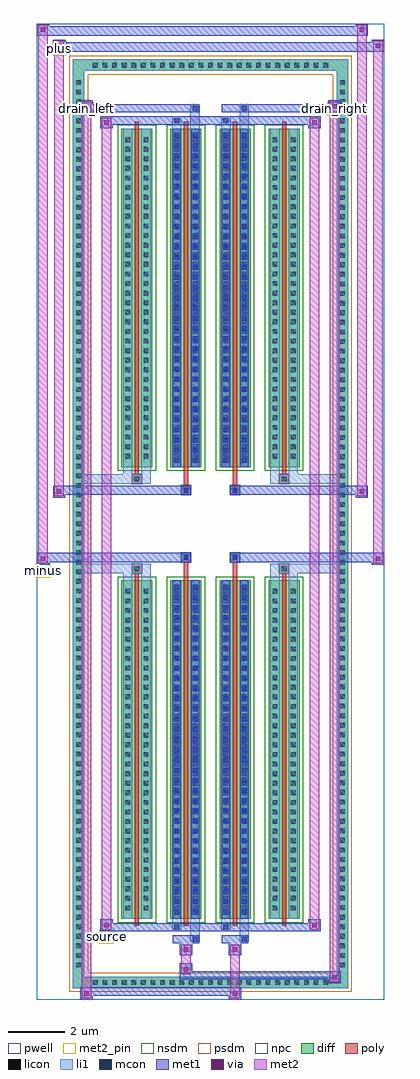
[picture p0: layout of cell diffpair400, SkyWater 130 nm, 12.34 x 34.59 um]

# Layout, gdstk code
import gdstk
lib = gdstk.Library(unit=1e-6, precision=5e-09)
def R(c, l, rs):  # rectangles x0, y0, x1, y1
    for r in rs: c.add(gdstk.rectangle(r[:2], r[2:], *l))
def A(c, l, x, y, w, h, nx, ny, dx, dy):  # array of equal rectangles
    R(c, l, [(x+i*dx, y+j*dy, x+i*dx+w, y+j*dy+h) for i in range(nx) for j in range(ny)])
def P(c, l, *ps):  # polygons
    for p in ps: c.add(gdstk.Polygon(p, *l))
pwell = (64, 44)
diff = (65, 20)
poly = (66, 20)
licon = (66, 44)
li1 = (67, 20)
mcon = (67, 44)
met1 = (68, 20)
via = (68, 44)
met2_pin = (69, 16)
met2 = (69, 20)
nsdm = (93, 44)
psdm = (94, 20)
npc = (95, 20)

diffpair400 = lib.new_cell('diffpair400')
R(diffpair400, pwell, [(-6.15,-16.86,6.15,17.73), (-3.47,-15.05,-0.01,-0.825), (0.01,-15.05,3.47,-0.825), (-3.47,0.825,-0.01,15.05), (0.01,0.825,3.47,15.05)])
A(diffpair400, diff, -4.285, -16.46, 0.41, 0.41, 25, 2, 0.34, 32.51)
A(diffpair400, diff, -4.88, -15.845, 0.41, 0.41, 1, 93, 0, 0.34)
A(diffpair400, diff, 4.47, -15.845, 0.41, 0.41, 1, 93, 0, 0.34)
A(diffpair400, diff, -3.16, -14.005, 1.1, 12, 4, 2, 1.74, 16.01)
R(diffpair400, diff, [(-4.285,-16.46,4.285,-16.05), (-4.88,-15.845,-4.47,15.845), (4.47,-15.845,4.88,15.845), (-4.285,16.05,4.285,16.46)])
P(diffpair400, diff, [(4.88,16.46),(-4.88,16.46),(-4.88,-16.05),(-4.47,-16.05),(-4.47,16.05),(4.47,16.05),(4.47,-16.05),(-4.47,-16.05),(-4.88,-16.05),(-4.88,-16.46),(4.88,-16.46)])
A(diffpair400, poly, -2.685, -14.255, 0.15, 12.5, 4, 2, 1.74, 16.01)
R(diffpair400, poly, [(-2.775,-1.755,-2.445,-1.425), (-2.775,-1.755,-2.445,-1.425), (-0.945,-1.755,-0.795,-1.355), (0.795,-1.755,0.945,-1.355), (2.445,-1.755,2.775,-1.425), (2.445,-1.755,2.775,-1.425), (-1.035,-1.355,-0.705,-1.025), (-1.035,-1.355,-0.705,-1.025), (0.705,-1.355,1.035,-1.025), (0.705,-1.355,1.035,-1.025), (-1.035,1.025,-0.705,1.355), (-1.035,1.025,-0.705,1.355), (0.705,1.025,1.035,1.355), (0.705,1.025,1.035,1.355), (-0.945,1.355,-0.795,1.755), (0.795,1.355,0.945,1.755), (-2.775,1.425,-2.445,1.755), (-2.775,1.425,-2.445,1.755), (2.445,1.425,2.775,1.755), (2.445,1.425,2.775,1.755)])
A(diffpair400, licon, -4.165, -16.34, 0.17, 0.17, 25, 2, 0.34, 32.51)
A(diffpair400, licon, -4.76, -15.725, 0.17, 0.17, 1, 93, 0, 0.34)
A(diffpair400, licon, 4.59, -15.725, 0.17, 0.17, 1, 93, 0, 0.34)
A(diffpair400, licon, -3.02, -13.7, 0.17, 0.17, 1, 34, 0, 0.34)
A(diffpair400, licon, -2.37, -13.7, 0.17, 0.17, 1, 34, 0, 0.34)
A(diffpair400, licon, -1.28, -13.7, 0.17, 0.17, 1, 34, 0, 0.34)
A(diffpair400, licon, -0.63, -13.7, 0.17, 0.17, 1, 34, 0, 0.34)
A(diffpair400, licon, 0.46, -13.7, 0.17, 0.17, 1, 34, 0, 0.34)
A(diffpair400, licon, 1.11, -13.7, 0.17, 0.17, 1, 34, 0, 0.34)
A(diffpair400, licon, 2.2, -13.7, 0.17, 0.17, 1, 34, 0, 0.34)
A(diffpair400, licon, 2.85, -13.7, 0.17, 0.17, 1, 34, 0, 0.34)
A(diffpair400, licon, -3.02, 2.31, 0.17, 0.17, 1, 34, 0, 0.34)
A(diffpair400, licon, -2.37, 2.31, 0.17, 0.17, 1, 34, 0, 0.34)
A(diffpair400, licon, -1.28, 2.31, 0.17, 0.17, 1, 34, 0, 0.34)
A(diffpair400, licon, -0.63, 2.31, 0.17, 0.17, 1, 34, 0, 0.34)
A(diffpair400, licon, 0.46, 2.31, 0.17, 0.17, 1, 34, 0, 0.34)
A(diffpair400, licon, 1.11, 2.31, 0.17, 0.17, 1, 34, 0, 0.34)
A(diffpair400, licon, 2.2, 2.31, 0.17, 0.17, 1, 34, 0, 0.34)
A(diffpair400, licon, 2.85, 2.31, 0.17, 0.17, 1, 34, 0, 0.34)
R(diffpair400, licon, [(-2.695,-1.675,-2.525,-1.505), (2.525,-1.675,2.695,-1.505), (-0.955,-1.275,-0.785,-1.105), (0.785,-1.275,0.955,-1.105), (-0.955,1.105,-0.785,1.275), (0.785,1.105,0.955,1.275), (-2.695,1.505,-2.525,1.675), (2.525,1.505,2.695,1.675)])
A(diffpair400, li1, -4.245, -16.42, 0.33, 0.33, 25, 2, 0.34, 32.51)
A(diffpair400, li1, -4.84, -15.805, 0.33, 0.33, 1, 93, 0, 0.34)
A(diffpair400, li1, 4.51, -15.805, 0.33, 0.33, 1, 93, 0, 0.34)
A(diffpair400, li1, -1.28, -13.85, 0.17, 0.17, 1, 33, 0, 0.36)
A(diffpair400, li1, -0.63, -13.85, 0.17, 0.17, 1, 33, 0, 0.36)
A(diffpair400, li1, 0.46, -13.85, 0.17, 0.17, 1, 33, 0, 0.36)
A(diffpair400, li1, 1.11, -13.85, 0.17, 0.17, 1, 33, 0, 0.36)
A(diffpair400, li1, -3.1, -13.78, 0.33, 0.33, 1, 34, 0, 0.34)
A(diffpair400, li1, -2.45, -13.78, 0.33, 0.33, 1, 34, 0, 0.34)
A(diffpair400, li1, -1.36, -13.78, 0.33, 0.33, 1, 34, 0, 0.34)
A(diffpair400, li1, -0.71, -13.78, 0.33, 0.33, 1, 34, 0, 0.34)
A(diffpair400, li1, 0.38, -13.78, 0.33, 0.33, 1, 34, 0, 0.34)
A(diffpair400, li1, 1.03, -13.78, 0.33, 0.33, 1, 34, 0, 0.34)
A(diffpair400, li1, 2.12, -13.78, 0.33, 0.33, 1, 34, 0, 0.34)
A(diffpair400, li1, 2.77, -13.78, 0.33, 0.33, 1, 34, 0, 0.34)
A(diffpair400, li1, -1.28, 2.16, 0.17, 0.17, 1, 33, 0, 0.36)
A(diffpair400, li1, -0.63, 2.16, 0.17, 0.17, 1, 33, 0, 0.36)
A(diffpair400, li1, 0.46, 2.16, 0.17, 0.17, 1, 33, 0, 0.36)
A(diffpair400, li1, 1.11, 2.16, 0.17, 0.17, 1, 33, 0, 0.36)
A(diffpair400, li1, -3.1, 2.23, 0.33, 0.33, 1, 34, 0, 0.34)
A(diffpair400, li1, -2.45, 2.23, 0.33, 0.33, 1, 34, 0, 0.34)
A(diffpair400, li1, -1.36, 2.23, 0.33, 0.33, 1, 34, 0, 0.34)
A(diffpair400, li1, -0.71, 2.23, 0.33, 0.33, 1, 34, 0, 0.34)
A(diffpair400, li1, 0.38, 2.23, 0.33, 0.33, 1, 34, 0, 0.34)
A(diffpair400, li1, 1.03, 2.23, 0.33, 0.33, 1, 34, 0, 0.34)
A(diffpair400, li1, 2.12, 2.23, 0.33, 0.33, 1, 34, 0, 0.34)
A(diffpair400, li1, 2.77, 2.23, 0.33, 0.33, 1, 34, 0, 0.34)
R(diffpair400, li1, [(-4.88,-16.46,-4.47,-16.05), (-4.88,-16.46,-4.47,-16.05), (-4.47,-16.46,4.47,-16.05), (4.47,-16.46,4.88,-16.05), (4.47,-16.46,4.88,-16.05), (-4.88,-16.05,-4.47,16.05), (4.47,-16.05,4.88,16.05), (-0.71,-14.81,-0.38,-14.005), (-0.63,-14.81,-0.46,-14.64), (1.03,-14.81,1.36,-14.005), (1.11,-14.81,1.28,-14.64), (-1.36,-14.38,-1.03,-14.005), (-1.28,-14.38,-1.11,-14.21), (0.38,-14.38,0.71,-14.005), (0.46,-14.38,0.63,-14.21), (-3.1,-14.005,-2.77,-2.005), (-2.45,-14.005,-2.12,-2.005), (-1.36,-14.005,-1.03,-2.005), (-0.71,-14.005,-0.38,-2.005), (0.38,-14.005,0.71,-2.005), (1.03,-14.005,1.36,-2.005), (2.12,-14.005,2.45,-2.005), (2.77,-14.005,3.1,-2.005), (-1.28,-13.85,-1.11,-2.16), (-0.63,-13.85,-0.46,-2.16), (0.46,-13.85,0.63,-2.16), (1.11,-13.85,1.28,-2.16), (-3.1,-2.005,-2.77,-1.425), (-2.45,-2.005,-2.12,-1.425), (2.12,-2.005,2.45,-1.425), (2.77,-2.005,3.1,-1.425), (-4.88,-1.755,-2.775,-1.425), (-3.1,-1.755,-2.775,-1.425), (-2.775,-1.755,-2.445,-1.425), (-2.445,-1.755,-2.12,-1.425), (2.12,-1.755,2.445,-1.425), (2.445,-1.755,2.775,-1.425), (2.445,-1.755,4.88,-1.425), (2.775,-1.755,3.1,-1.425), (-1.035,-1.355,-0.705,-1.025), (0.705,-1.355,1.035,-1.025), (-1.035,1.025,-0.705,1.355), (0.705,1.025,1.035,1.355), (-4.88,1.425,-2.775,1.755), (-3.1,1.425,-2.775,1.755), (-3.1,1.425,-2.77,2.005), (-2.775,1.425,-2.445,1.755), (-2.45,1.425,-2.12,2.005), (-2.445,1.425,-2.12,1.755), (2.12,1.425,2.445,1.755), (2.12,1.425,2.45,2.005), (2.445,1.425,2.775,1.755), (2.445,1.425,4.88,1.755), (2.77,1.425,3.1,2.005), (2.775,1.425,3.1,1.755), (-3.1,2.005,-2.77,14.005), (-2.45,2.005,-2.12,14.005), (-1.36,2.005,-1.03,14.005), (-0.71,2.005,-0.38,14.005), (0.38,2.005,0.71,14.005), (1.03,2.005,1.36,14.005), (2.12,2.005,2.45,14.005), (2.77,2.005,3.1,14.005), (-1.28,2.16,-1.11,13.85), (-0.63,2.16,-0.46,13.85), (0.46,2.16,0.63,13.85), (1.11,2.16,1.28,13.85), (-1.36,14.005,-1.03,14.38), (-0.71,14.005,-0.38,14.81), (0.38,14.005,0.71,14.38), (1.03,14.005,1.36,14.81), (-1.28,14.21,-1.11,14.38), (0.46,14.21,0.63,14.38), (-0.63,14.64,-0.46,14.81), (1.11,14.64,1.28,14.81), (-4.88,16.05,-4.47,16.46), (-4.88,16.05,-4.47,16.46), (-4.47,16.05,4.47,16.46), (4.47,16.05,4.88,16.46), (4.47,16.05,4.88,16.46)])
A(diffpair400, mcon, -1.28, -13.85, 0.17, 0.17, 1, 33, 0, 0.36)
A(diffpair400, mcon, -0.63, -13.85, 0.17, 0.17, 1, 33, 0, 0.36)
A(diffpair400, mcon, 0.46, -13.85, 0.17, 0.17, 1, 33, 0, 0.36)
A(diffpair400, mcon, 1.11, -13.85, 0.17, 0.17, 1, 33, 0, 0.36)
A(diffpair400, mcon, -1.28, 2.16, 0.17, 0.17, 1, 33, 0, 0.36)
A(diffpair400, mcon, -0.63, 2.16, 0.17, 0.17, 1, 33, 0, 0.36)
A(diffpair400, mcon, 0.46, 2.16, 0.17, 0.17, 1, 33, 0, 0.36)
A(diffpair400, mcon, 1.11, 2.16, 0.17, 0.17, 1, 33, 0, 0.36)
R(diffpair400, mcon, [(-0.63,-14.81,-0.46,-14.64), (1.11,-14.81,1.28,-14.64), (-1.28,-14.38,-1.11,-14.21), (0.46,-14.38,0.63,-14.21), (-0.955,-1.275,-0.785,-1.105), (0.785,-1.275,0.955,-1.105), (-0.955,1.105,-0.785,1.275), (0.785,1.105,0.955,1.275), (-1.28,14.21,-1.11,14.38), (0.46,14.21,0.63,14.38), (-0.63,14.64,-0.46,14.81), (1.11,14.64,1.28,14.81)])
A(diffpair400, met1, -1.34, -13.91, 0.29, 0.29, 1, 33, 0, 0.36)
A(diffpair400, met1, -0.69, -13.91, 0.29, 0.29, 1, 33, 0, 0.36)
A(diffpair400, met1, 0.4, -13.91, 0.29, 0.29, 1, 33, 0, 0.36)
A(diffpair400, met1, 1.05, -13.91, 0.29, 0.29, 1, 33, 0, 0.36)
A(diffpair400, met1, -1.34, 2.1, 0.29, 0.29, 1, 33, 0, 0.36)
A(diffpair400, met1, -0.69, 2.1, 0.29, 0.29, 1, 33, 0, 0.36)
A(diffpair400, met1, 0.4, 2.1, 0.29, 0.29, 1, 33, 0, 0.36)
A(diffpair400, met1, 1.05, 2.1, 0.29, 0.29, 1, 33, 0, 0.36)
R(diffpair400, met1, [(-4.61,-16.86,-4.18,-16.43), (0.655,-16.86,1.085,-16.43), (-4.61,-16.72,1.085,-16.43), (4.18,-16.29,4.61,-15.86), (-1.085,-16.15,4.61,-15.86), (-1.085,-16.01,-0.655,-15.58), (-1.085,-15.3,-0.655,-14.87), (0.655,-15.3,1.085,-14.87), (-1.34,-14.87,-0.4,-14.58), (-0.69,-14.87,-0.4,-14.58), (0.4,-14.87,1.34,-14.58), (1.05,-14.87,1.34,-14.58), (-3.9,-14.44,-3.47,-14.01), (-3.9,-14.44,-1.34,-14.15), (-1.34,-14.44,-1.05,-14.15), (-1.34,-14.44,-0.4,-14.15), (-0.4,-14.44,0.4,-14.15), (0.4,-14.44,0.69,-14.15), (0.4,-14.44,1.34,-14.15), (1.34,-14.44,3.9,-14.15), (3.47,-14.44,3.9,-14.01), (-1.34,-14.005,-1.05,-2.005), (-0.69,-14.005,-0.4,-2.005), (0.4,-14.005,0.69,-2.005), (1.05,-14.005,1.34,-2.005), (-6.15,-1.455,-5.72,-1.025), (5.72,-1.455,6.15,-1.025), (-6.15,-1.355,-0.705,-1.025), (-1.035,-1.355,-0.705,-1.025), (0.705,-1.355,1.035,-1.025), (0.705,-1.355,6.15,-1.025), (-1.015,-1.335,-0.725,-1.045), (0.725,-1.335,1.015,-1.045), (-5.58,0.925,-5.15,1.355), (5.15,0.925,5.58,1.355), (-5.58,1.025,-1.035,1.355), (-1.035,1.025,-0.705,1.355), (0.705,1.025,1.035,1.355), (1.035,1.025,5.58,1.355), (-1.015,1.045,-0.725,1.335), (0.725,1.045,1.015,1.335), (-1.34,2.005,-1.05,14.005), (-0.69,2.005,-0.4,14.005), (0.4,2.005,0.69,14.005), (1.05,2.005,1.34,14.005), (-3.9,14.01,-3.47,14.44), (3.47,14.01,3.9,14.44), (-3.9,14.15,-1.34,14.44), (-1.34,14.15,-1.05,14.44), (-1.34,14.15,-0.4,14.44), (-0.4,14.15,0.4,14.44), (0.4,14.15,0.69,14.44), (0.4,14.15,1.34,14.44), (1.34,14.15,3.9,14.44), (-4.61,14.58,-4.18,15.01), (-4.61,14.58,-1.34,14.87), (-1.34,14.58,-0.4,14.87), (-0.69,14.58,-0.4,14.87), (0.4,14.58,1.34,14.87), (1.05,14.58,1.34,14.87), (1.34,14.58,4.61,14.87), (4.18,14.58,4.61,15.01), (-5.58,16.73,-5.15,17.16), (-5.58,16.73,-3.47,17.06), (-3.47,16.73,3.47,17.06), (3.47,16.73,6.15,17.06), (5.72,16.73,6.15,17.16), (-6.15,17.3,-5.72,17.73), (-6.15,17.3,-3.47,17.63), (-3.47,17.3,3.47,17.63), (3.47,17.3,5.58,17.63), (5.15,17.3,5.58,17.73)])
R(diffpair400, via, [(-4.47,-16.72,-4.32,-16.57), (0.795,-16.72,0.945,-16.57), (4.32,-16.15,4.47,-16), (-0.945,-15.87,-0.795,-15.72), (-0.945,-15.16,-0.795,-15.01), (0.795,-15.16,0.945,-15.01), (-3.76,-14.3,-3.61,-14.15), (3.61,-14.3,3.76,-14.15), (-6.01,-1.315,-5.86,-1.165), (5.86,-1.315,6.01,-1.165), (-5.44,1.065,-5.29,1.215), (5.29,1.065,5.44,1.215), (-3.76,14.15,-3.61,14.3), (3.61,14.15,3.76,14.3), (-4.47,14.72,-4.32,14.87), (4.32,14.72,4.47,14.87), (-5.44,16.87,-5.29,17.02), (5.86,16.87,6.01,17.02), (-6.01,17.44,-5.86,17.59), (5.29,17.44,5.44,17.59)])
R(diffpair400, met2_pin, [(-3.935,-14.89,-3.435,-14.39), (-6.185,-1.905,-5.685,-1.405), (-4.645,14.46,-4.145,14.96), (4.145,14.46,4.645,14.96), (-5.615,16.61,-5.115,17.11)])
R(diffpair400, met2, [(-4.56,-16.81,-4.23,-16.48), (-4.56,-16.81,-4.23,14.96), (0.705,-16.81,1.035,-16.48), (0.705,-16.48,1.035,-15.25), (4.23,-16.24,4.56,-15.91), (4.23,-16.24,4.56,14.96), (-1.035,-15.96,-0.705,-15.63), (-1.035,-15.63,-0.705,-15.25), (-1.035,-15.25,-0.705,-14.92), (0.705,-15.25,1.035,-14.92), (-3.85,-14.39,-3.52,-14.06), (-3.85,-14.39,-3.52,14.39), (3.52,-14.39,3.85,-14.06), (3.52,-14.39,3.85,14.39), (-6.1,-1.405,-5.77,-1.075), (-6.1,-1.405,-5.77,17.68), (5.77,-1.405,6.1,-1.075), (5.77,-1.405,6.1,17.11), (-5.53,0.975,-5.2,1.305), (-5.53,0.975,-5.2,17.11), (5.2,0.975,5.53,1.305), (5.2,0.975,5.53,17.68), (-3.85,14.06,-3.52,14.39), (3.52,14.06,3.85,14.39), (-4.56,14.63,-4.23,14.96), (4.23,14.63,4.56,14.96), (-5.53,16.78,-5.2,17.11), (5.77,16.78,6.1,17.11), (-6.1,17.35,-5.77,17.68), (5.2,17.35,5.53,17.68)])
P(diffpair400, met2, [(6.1,-1.405),(6.1,-1.405),(6.1,-1.075),(6.1,-1.075)],
  [(6.1,16.78),(6.1,16.78),(6.1,17.11),(6.1,17.11)],
  [(-5.77,-1.405),(-5.77,-1.405),(-5.77,-1.075),(-5.77,-1.075)],
  [(-5.77,17.35),(-5.77,17.35),(-5.77,17.68),(-5.77,17.68)],
  [(5.53,0.975),(5.53,0.975),(5.53,1.305),(5.53,1.305)],
  [(5.53,17.35),(5.53,17.35),(5.53,17.68),(5.53,17.68)],
  [(-5.2,0.975),(-5.2,0.975),(-5.2,1.305),(-5.2,1.305)],
  [(-5.2,16.78),(-5.2,16.78),(-5.2,17.11),(-5.2,17.11)],
  [(-4.23,-16.81),(-4.23,-16.81),(-4.23,-16.48),(-4.23,-16.48)],
  [(-4.23,14.63),(-4.23,14.63),(-4.23,14.96),(-4.23,14.96)],
  [(4.56,-16.24),(4.56,-16.24),(4.56,-15.91),(4.56,-15.91)],
  [(4.56,14.63),(4.56,14.63),(4.56,14.96),(4.56,14.96)],
  [(-3.52,-14.39),(-3.52,-14.39),(-3.52,-14.06),(-3.52,-14.06)],
  [(-3.52,14.06),(-3.52,14.06),(-3.52,14.39),(-3.52,14.39)],
  [(3.85,-14.39),(3.85,-14.39),(3.85,-14.06),(3.85,-14.06)],
  [(3.85,14.06),(3.85,14.06),(3.85,14.39),(3.85,14.39)])
A(diffpair400, nsdm, -3.29, -14.135, 1.36, 12.26, 4, 2, 1.74, 16.01)
P(diffpair400, psdm, [(5.01,16.59),(-5.01,16.59),(-5.01,-15.92),(-4.34,-15.92),(-4.34,15.92),(4.34,15.92),(4.34,-15.92),(-4.34,-15.92),(-5.01,-15.92),(-5.01,-16.59),(5.01,-16.59)])
R(diffpair400, npc, [(-2.795,-1.775,-2.425,-1.405), (2.425,-1.775,2.795,-1.405), (-1.055,-1.375,-0.685,-1.005), (0.685,-1.375,1.055,-1.005), (-1.055,1.005,-0.685,1.375), (0.685,1.005,1.055,1.375), (-2.795,1.405,-2.425,1.775), (2.425,1.405,2.795,1.775)])
diffpair400.add(gdstk.Label('minus', (-5.935,-1.655), layer=69, texttype=5))
diffpair400.add(gdstk.Label('drain_right', (4.395,14.71), layer=69, texttype=5))
diffpair400.add(gdstk.Label('drain_left', (-4.395,14.71), layer=69, texttype=5))
diffpair400.add(gdstk.Label('source', (-3.685,-14.64), layer=69, texttype=5))
diffpair400.add(gdstk.Label('plus', (-5.365,16.86), layer=69, texttype=5))

lib.write_gds('diffpair400.gds')
